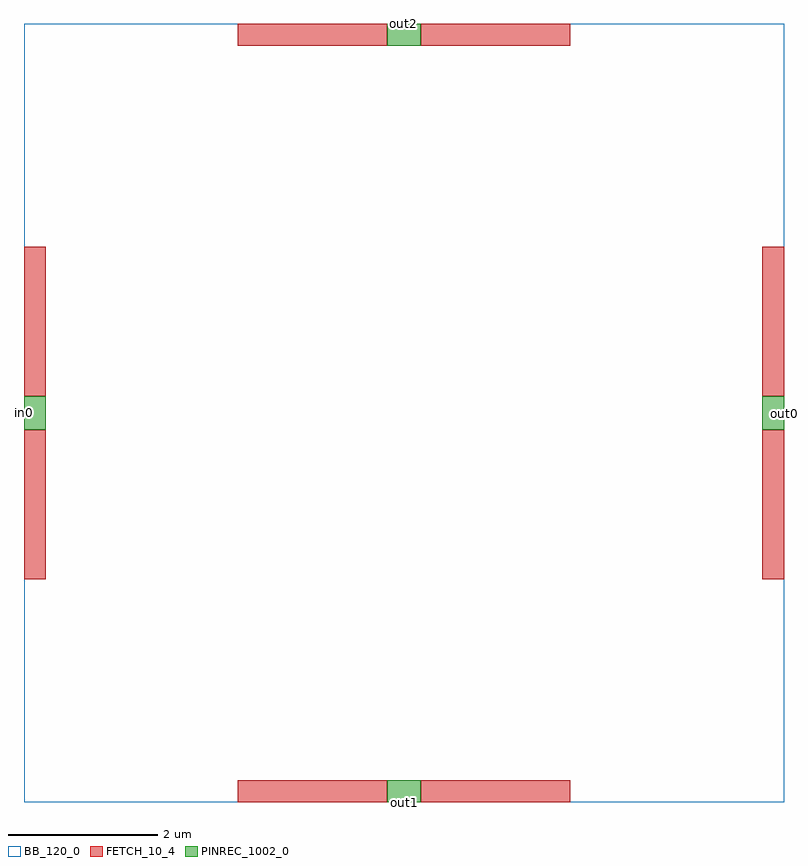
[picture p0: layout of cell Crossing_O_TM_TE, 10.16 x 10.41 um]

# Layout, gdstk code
import gdstk
lib = gdstk.Library(unit=1e-6, precision=1e-09)
def R(c, l, rs):  # rectangles x0, y0, x1, y1
    for r in rs: c.add(gdstk.rectangle(r[:2], r[2:], *l))
FETCH_10_4 = (10, 4)
BB_120_0 = (120, 0)
PINREC_1002_0 = (1002, 0)

crossing_o_tm_te = lib.new_cell('Crossing_O_TM_TE')
R(crossing_o_tm_te, FETCH_10_4, [(2.857,0,4.857,0.29), (5.307,0,7.307,0.29), (0,2.979,0.29,4.979), (9.874,2.979,10.164,4.979), (0,5.429,0.29,7.429), (9.874,5.429,10.164,7.429), (2.857,10.118,4.857,10.408), (5.307,10.118,7.307,10.408)])
R(crossing_o_tm_te, BB_120_0, [(0,0,10.164,10.408)])
R(crossing_o_tm_te, PINREC_1002_0, [(4.857,0,5.307,0.29), (0,4.979,0.29,5.429), (9.874,4.979,10.164,5.429), (4.857,10.118,5.307,10.408)])
crossing_o_tm_te.add(gdstk.Label('out2', (5.079,10.408), layer=1000, texttype=0))
crossing_o_tm_te.add(gdstk.Label('out0', (10.164,5.198), layer=1000, texttype=0))
crossing_o_tm_te.add(gdstk.Label('out1', (5.086,0), layer=1000, texttype=0))
crossing_o_tm_te.add(gdstk.Label('in0', (0,5.207), layer=1000, texttype=0))

lib.write_gds('Crossing_O_TM_TE.gds')
